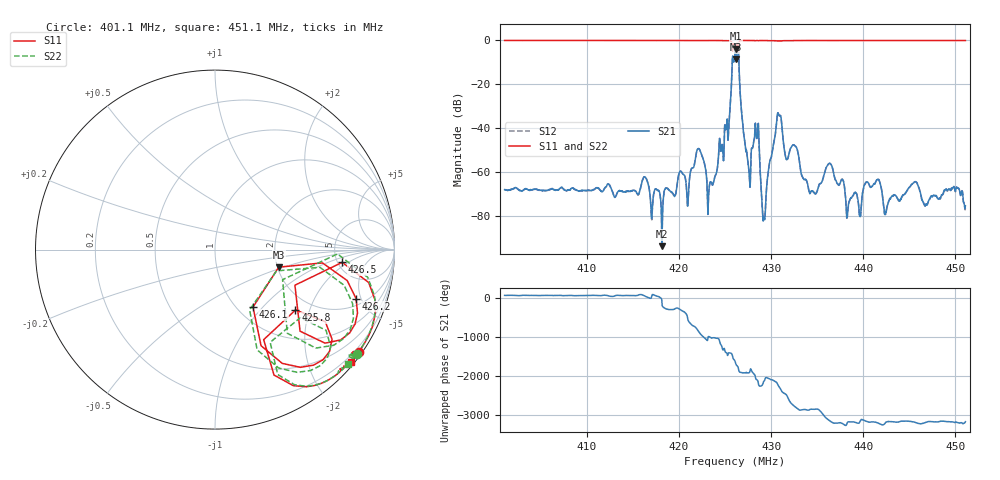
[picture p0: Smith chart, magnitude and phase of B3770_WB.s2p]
! Matrix data file written by TouchstoneData, EPCOS AG
! FILENAME: "B3770_WB.s2p"
! COMMENT: "AUF PLATINE QCC8C 2/5 12 Nov 2004 S11-KEIN K"
! INFO: nport=2, nfreq=1601
! DATE: "Thu Sep 20 11:27:03 2012"
! USER: "Wilfried Schott"
! port | pin | signal
!  1  |  2  |  IN
!  2  |  5  |  OUT
# MHZ S MA R 50
! freq  magS11 angS11  magS21 angS21  magS12 angS12  magS22 angS22
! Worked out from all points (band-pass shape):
!   1601 points, 401.1 MHz to 451.1 MHz, reference 50 ohm
!   highest |S21| = -3.90 dB at 426.1 MHz (marker M1); lowest = -93.8 dB at 418.1 MHz (marker M2)
!   |S21| within 3 dB of the highest: 426.0475 MHz to 426.2047 MHz (157.2 kHz wide, 0.0369 % of centre); 426.407 MHz to 426.4671 MHz (60.04 kHz wide, 0.0141 % of centre)
!   lowest |S11| = -8.7 dB at 426.1 MHz (marker M3), VSWR 2.17, Z = 102 - j23 ohm
!   |S11| at or under -10 dB: nowhere
!   |S22| runs from -8.8 to -0.2 dB; largest |S21 - S12| = 0.0013
!   S11 on the Smith chart (normalised r, x): 401.1 MHz: 0.09, -3.12; 425.8 MHz: 1.64, -1.61; 426.1 MHz: 1.18, -0.88; 426.2 MHz: 2.55, -4.54; 426.5 MHz: 5.48, -1.58; 451.1 MHz: 0.09, -2.78
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401.075  0.9836 -35.6  0.0003951 61.1  0.0003886 61.7  0.9821 -36.4
409.4187  0.9836 -36.4  0.000382 59.2  0.0003721 58.5  0.9821 -37.3
417.7625  0.9817 -37.5  0.0003773 32.6  0.0003769 32.3  0.9805 -38.4
418.1375  0.9818 -37.6  2.034e-05 -63.3  2.337e-05 -57.1  0.9805 -38.4
422.1062  0.9771 -38.6  0.003401 -138.2  0.003388 -138.0  0.9747 -39.4
423.3562  0.9807 -39.2  0.0005674 71.2  0.0005537 71.2  0.9799 -40.1
425.325  0.9732 -44.2  0.00526 10.3  0.005258 10.3  0.9713 -45.1
425.825  0.5607 -36.9  0.4326 -78.9  0.4317 -78.8  0.6083 -38.6
426.075  0.5937 -64.4  0.5343 177.6  0.5338 177.7  0.6058 -67.2
426.1062  0.3838 -56.5  0.618 155.0  0.6176 155.0  0.3873 -60.2
426.1375  0.3681 -15.4  0.6386 128.7  0.6378 128.8  0.3628 -19.1
426.2312  0.8324 -19.2  0.3938 76.6  0.3929 76.7  0.8235 -21.4
426.4812  0.7121 -5.7  0.3984 -59.6  0.3974 -59.6  0.6833 -2.0
427.4812  0.9832 -34.1  0.001681 -122.9  0.001682 -123.0  0.9819 -34.9
428.45  0.9803 -35.8  0.005777 59.2  0.005768 59.3  0.9788 -36.7
429.1687  0.9797 -36.5  8.907e-05 9.7  8.344e-05 4.7  0.9788 -37.4
430.8562  0.9652 -36.8  0.01925 -119.0  0.0192 -118.8  0.965 -37.6
434.4187  0.9816 -37.5  0.0003696 26.9  0.0003635 27.1  0.9802 -38.4
436.325  0.9787 -37.7  0.001563 95.5  0.001559 95.5  0.9774 -38.7
438.325  0.981 -38.1  0.0001293 58.1  0.0001317 59.9  0.9793 -39.0
442.7625  0.9813 -38.6  0.0002185 71.9  0.0002181 71.0  0.9798 -39.6
451.075  0.9803 -39.6  0.0001684 67.1  0.0001478 67.8  0.9785 -40.5
